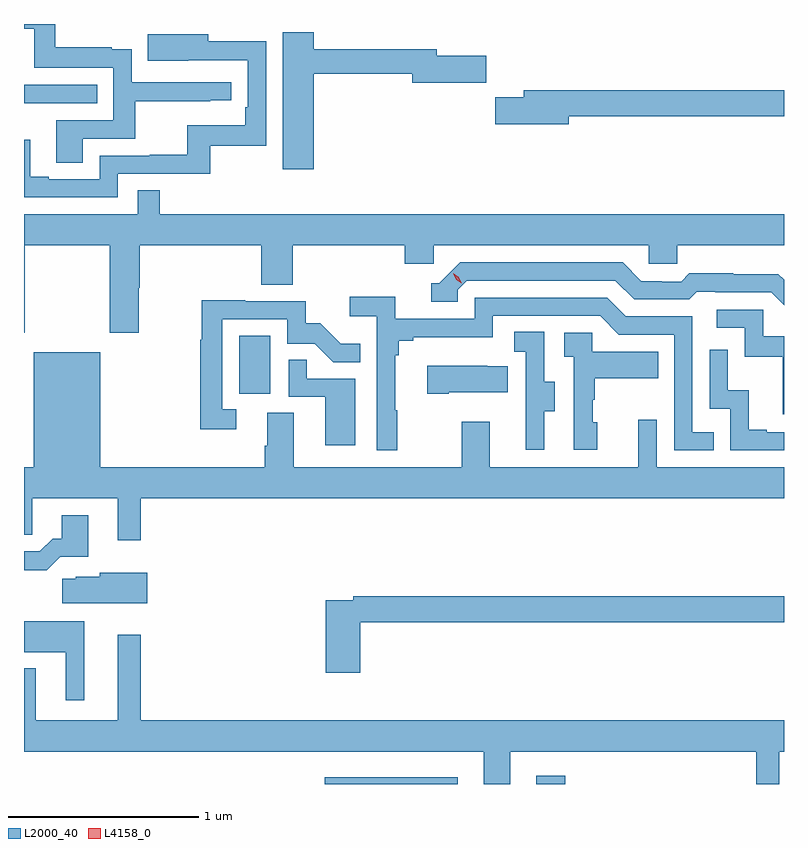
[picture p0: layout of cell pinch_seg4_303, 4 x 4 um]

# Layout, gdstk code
import gdstk
lib = gdstk.Library(unit=1e-6, precision=1e-09)
def R(c, l, rs):  # rectangles x0, y0, x1, y1
    for r in rs: c.add(gdstk.rectangle(r[:2], r[2:], *l))
def P(c, l, *ps):  # polygons
    for p in ps: c.add(gdstk.Polygon(p, *l))
L2000_40 = (2000, 40)
L4158_0 = (4158, 0)

pinch_seg4_303 = lib.new_cell('pinch_seg4_303')
R(pinch_seg4_303, L2000_40, [(946.323,801.977,947.023,802.012), (947.435,801.977,947.588,802.021), (945.872,804.03,946.036,804.337), (944.74,805.56,945.125,805.656)])
P(pinch_seg4_303, L2000_40, [(945.049,805.374),(945.326,805.374),(945.326,805.57),(945.719,805.57),(945.719,805.575),(945.832,805.575),(945.832,805.671),(945.306,805.671),(945.306,805.843),(945.203,805.843),(945.203,805.855),(944.905,805.855),(944.905,805.977),(944.74,805.977),(944.74,805.952),(944.794,805.952),(944.794,805.746),(945.21,805.746),(945.21,805.47),(944.909,805.47),(944.909,805.246),(945.049,805.246)],
  [(946.264,805.714),(946.784,805.714),(946.784,805.667),(947.173,805.667),(947.173,805.809),(946.912,805.809),(946.912,805.843),(946.264,805.843),(946.264,805.933),(946.103,805.933),(946.103,805.212),(946.264,805.212)],
  [(945.234,805.188),(945.721,805.188),(945.721,805.335),(946.014,805.335),(946.014,805.886),(945.709,805.886),(945.709,805.924),(945.391,805.924),(945.391,805.784),(945.605,805.784),(945.605,805.785),(945.918,805.785),(945.918,805.54),(945.905,805.54),(945.905,805.444),(945.6,805.444),(945.6,805.289),(945.403,805.289),(945.403,805.284),(945.138,805.284),(945.138,805.161),(944.869,805.161),(944.869,805.174),(944.773,805.174),(944.773,805.367),(944.74,805.367),(944.74,805.065),(945.234,805.065)],
  [(947.608,805.492),(948.74,805.492),(948.74,805.628),(947.369,805.628),(947.369,805.592),(947.22,805.592),(947.22,805.45),(947.608,805.45)],
  [(944.745,804.812),(945.19,804.812),(945.19,804.351),(945.345,804.351),(945.345,804.59),(945.35,804.59),(945.35,804.812),(945.989,804.812),(945.989,804.604),(946.154,804.604),(946.154,804.812),(946.745,804.812),(946.745,804.714),(946.896,804.714),(946.896,804.812),(948.027,804.812),(948.027,804.714),(948.177,804.714),(948.177,804.812),(948.74,804.812),(948.74,804.976),(945.455,804.976),(945.455,805.103),(945.339,805.103),(945.339,804.976),(944.74,804.976),(944.74,804.351),(944.745,804.351)],
  [(948.74,804.631),(948.71,804.661),(948.474,804.661),(948.474,804.664),(948.241,804.664),(948.199,804.621),(948.096,804.621),(948.096,804.624),(947.989,804.624),(947.89,804.723),(947.037,804.723),(946.926,804.612),(946.883,804.612),(946.883,804.516),(947.022,804.516),(947.022,804.579),(947.07,804.627),(947.853,804.627),(947.952,804.528),(948.241,804.528),(948.28,804.567),(948.379,804.567),(948.379,804.564),(948.672,804.564),(948.74,804.496)],
  [(946.705,803.945),(946.693,803.945),(946.693,804.233),(946.712,804.233),(946.712,804.31),(946.789,804.31),(946.789,804.329),(947.208,804.329),(947.208,804.441),(947.772,804.441),(947.871,804.342),(948.162,804.342),(948.162,803.733),(948.371,803.733),(948.371,803.829),(948.258,803.829),(948.258,804.438),(947.908,804.438),(947.809,804.537),(947.112,804.537),(947.112,804.426),(946.694,804.426),(946.694,804.542),(946.455,804.542),(946.455,804.44),(946.596,804.44),(946.596,803.733),(946.705,803.733)],
  [(945.856,803.949),(945.783,803.949),(945.783,804.423),(946.125,804.423),(946.125,804.294),(946.269,804.294),(946.367,804.196),(946.511,804.196),(946.511,804.295),(946.407,804.295),(946.3,804.402),(946.224,804.402),(946.224,804.519),(945.905,804.519),(945.905,804.524),(945.675,804.524),(945.675,804.316),(945.667,804.316),(945.667,803.844),(945.856,803.844)],
  [(948.74,804.333),(948.63,804.333),(948.63,804.474),(948.387,804.474),(948.387,804.378),(948.534,804.378),(948.534,804.225),(948.733,804.225),(948.733,803.922),(948.74,803.922)],
  [(947.479,803.938),(947.533,803.938),(947.533,804.093),(947.478,804.093),(947.478,804.356),(947.319,804.356),(947.319,804.253),(947.382,804.253),(947.382,803.949),(947.381,803.949),(947.381,803.736),(947.479,803.736)],
  [(947.758,803.88),(947.733,803.88),(947.733,803.999),(947.743,803.999),(947.743,804.113),(948.077,804.113),(948.077,804.253),(947.73,804.253),(947.73,804.351),(947.583,804.351),(947.583,804.227),(947.634,804.227),(947.634,803.736),(947.758,803.736)],
  [(948.74,803.829),(948.649,803.829),(948.649,803.842),(948.554,803.842),(948.554,804.05),(948.444,804.05),(948.444,804.262),(948.348,804.262),(948.348,803.952),(948.456,803.952),(948.456,803.733),(948.74,803.733)],
  [(945.355,803.48),(948.74,803.48),(948.74,803.644),(948.069,803.644),(948.069,803.893),(947.972,803.893),(947.972,803.644),(947.191,803.644),(947.191,803.884),(947.044,803.884),(947.044,803.644),(946.159,803.644),(946.159,803.93),(946.019,803.93),(946.019,803.756),(946.007,803.756),(946.007,803.644),(945.142,803.644),(945.142,804.25),(944.792,804.25),(944.792,803.644),(944.74,803.644),(944.74,803.29),(944.784,803.29),(944.784,803.48),(945.233,803.48),(945.233,803.259),(945.355,803.259)],
  [(946.483,804.111),(946.229,804.111),(946.229,804.209),(946.134,804.209),(946.134,804.015),(946.325,804.015),(946.325,803.76),(946.483,803.76)],
  [(946.975,804.038),(947.285,804.038),(947.285,804.175),(947.177,804.175),(947.177,804.178),(946.863,804.178),(946.863,804.031),(946.975,804.031)],
  [(944.931,803.172),(945.079,803.172),(945.079,803.392),(944.939,803.392),(944.939,803.269),(944.89,803.269),(944.823,803.202),(944.74,803.202),(944.74,803.102),(944.861,803.102)],
  [(945.388,803.089),(945.138,803.089),(945.138,803.068),(945.012,803.068),(945.012,803.057),(944.94,803.057),(944.94,802.928),(945.388,802.928)],
  [(946.511,802.828),(948.74,802.828),(948.74,802.964),(946.474,802.964),(946.474,802.944),(946.328,802.944),(946.328,802.563),(946.511,802.563)],
  [(945.058,802.834),(944.74,802.834),(944.74,802.67),(944.96,802.67),(944.96,802.419),(945.058,802.419)],
  [(947.299,802.148),(948.594,802.148),(948.594,801.977),(948.715,801.977),(948.715,802.148),(948.74,802.148),(948.74,802.312),(945.355,802.312),(945.355,802.762),(945.233,802.762),(945.233,802.312),(944.803,802.312),(944.803,802.585),(944.74,802.585),(944.74,802.148),(947.159,802.148),(947.159,801.977),(947.299,801.977)])
P(pinch_seg4_303, L4158_0, [(947.045,804.612),(947.014,804.632),(946.998,804.664),(946.998,804.664),(946.998,804.664),(947.029,804.645),(947.045,804.612),(947.045,804.612)])

lib.write_gds('pinch_seg4_303.gds')
